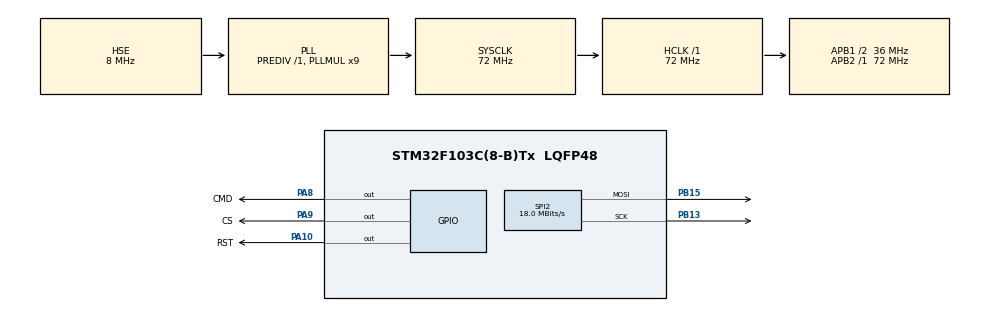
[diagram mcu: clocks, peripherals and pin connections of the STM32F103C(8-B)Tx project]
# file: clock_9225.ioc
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Mcu.Family=STM32F1
Mcu.Name=STM32F103C(8-B)Tx
Mcu.Package=LQFP48
NVIC.PriorityGroup=NVIC_PRIORITYGROUP_4
PA10.GPIO_Label=RST
PA10.Signal=GPIO_Output
PA13.Mode=Serial_Wire
PA13.Signal=SYS_JTMS-SWDIO
PA14.Mode=Serial_Wire
PA14.Signal=SYS_JTCK-SWCLK
PA8.GPIO_Label=CMD
PA8.Signal=GPIO_Output
PA9.GPIO_Label=CS
PA9.Signal=GPIO_Output
PB13.Mode=TX_Only_Simplex_Unidirect_Master
PB13.Signal=SPI2_SCK
PB15.Mode=TX_Only_Simplex_Unidirect_Master
PB15.Signal=SPI2_MOSI
PD0-OSC_IN.Mode=HSE-External-Oscillator
PD0-OSC_IN.Signal=RCC_OSC_IN
PD1-OSC_OUT.Mode=HSE-External-Oscillator
PD1-OSC_OUT.Signal=RCC_OSC_OUT
ProjectManager.HeapSize=0x200
ProjectManager.StackSize=0x400
ProjectManager.TargetToolchain=STM32CubeIDE
RCC.AHBFreq_Value=72000000
RCC.APB1CLKDivider=RCC_HCLK_DIV2
RCC.APB1Freq_Value=36000000
RCC.APB1TimFreq_Value=72000000
RCC.APB2Freq_Value=72000000
RCC.APB2TimFreq_Value=72000000
RCC.HCLKFreq_Value=72000000
RCC.PLLMUL=RCC_PLL_MUL9
RCC.PLLSourceVirtual=RCC_PLLSOURCE_HSE
RCC.SYSCLKFreq_VALUE=72000000
RCC.SYSCLKSource=RCC_SYSCLKSOURCE_PLLCLK
RCC.USBFreq_Value=72000000
SPI2.CalculateBaudRate=18.0 MBits/s
SPI2.Direction=SPI_DIRECTION_2LINES
SPI2.Mode=SPI_MODE_MASTER
SPI2.VirtualType=VM_MASTER
board=custom

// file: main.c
/* USER CODE BEGIN Header */
/**
  ******************************************************************************
  * @file           : main.c
  * @brief          : Main program body
  ******************************************************************************
  * @attention
  *
  * Copyright (c) 2023 STMicroelectronics.
  * All rights reserved.
  *
  * This software is licensed under terms that can be found in the LICENSE file
  * in the root directory of this software component.
  * If no LICENSE file comes with this software, it is provided AS-IS.
  *
  ******************************************************************************
  */
/* USER CODE END Header */
#include "main.h"

/* USER CODE BEGIN Includes */
#include "ILI9225.h"
/* USER CODE END Includes */

SPI_HandleTypeDef hspi2;

void SystemClock_Config(void);
static void MX_GPIO_Init(void);
static void MX_SPI2_Init(void);

int main(void)
{

  /* MCU Configuration--------------------------------------------------------*/

  /* Reset of all peripherals, Initializes the Flash interface and the Systick. */
  HAL_Init();

  /* Configure the system clock */
  SystemClock_Config();

  /* Initialize all configured peripherals */
  MX_GPIO_Init();
  MX_SPI2_Init();
  /* USER CODE BEGIN 2 */
  lcd_init();
  fill_rectangle(0, 0, WIDTH, HEIGHT, COLOR_WHITE);

  /* USER CODE END 2 */

  /* Infinite loop */
  while (1)
  {

    /* USER CODE BEGIN 3 */
	  draw_string(50, 50, COLOR_BLUE, 5, "PIF");
	  HAL_Delay(2500);
	  fill_rectangle(0, 0, WIDTH, HEIGHT, COLOR_WHITE);
	  HAL_Delay(1000);
	  draw_string(50, 50, COLOR_BLUE, 5, "QMD");
	  HAL_Delay(2500);
	  fill_rectangle(0, 0, WIDTH, HEIGHT, COLOR_WHITE);
	  HAL_Delay(1000);
	  draw_string(40, 50, COLOR_BLUE, 5, ":D");
	  HAL_Delay(2500);
	  fill_rectangle(0, 0, WIDTH, HEIGHT, COLOR_WHITE);
	  HAL_Delay(1000);
  }
  /* USER CODE END 3 */
}

void SystemClock_Config(void)
{
  RCC_OscInitTypeDef RCC_OscInitStruct = {0};
  RCC_ClkInitTypeDef RCC_ClkInitStruct = {0};

  /** Initializes the RCC Oscillators according to the specified parameters
  * in the RCC_OscInitTypeDef structure.
  */
  RCC_OscInitStruct.OscillatorType = RCC_OSCILLATORTYPE_HSE;
  RCC_OscInitStruct.HSEState = RCC_HSE_ON;
  RCC_OscInitStruct.HSEPredivValue = RCC_HSE_PREDIV_DIV1;
  RCC_OscInitStruct.HSIState = RCC_HSI_ON;
  RCC_OscInitStruct.PLL.PLLState = RCC_PLL_ON;
  RCC_OscInitStruct.PLL.PLLSource = RCC_PLLSOURCE_HSE;
  RCC_OscInitStruct.PLL.PLLMUL = RCC_PLL_MUL9;
  if (HAL_RCC_OscConfig(&RCC_OscInitStruct) != HAL_OK)
  {
    Error_Handler();
  }

  /** Initializes the CPU, AHB and APB buses clocks
  */
  RCC_ClkInitStruct.ClockType = RCC_CLOCKTYPE_HCLK|RCC_CLOCKTYPE_SYSCLK
                              |RCC_CLOCKTYPE_PCLK1|RCC_CLOCKTYPE_PCLK2;
  RCC_ClkInitStruct.SYSCLKSource = RCC_SYSCLKSOURCE_PLLCLK;
  RCC_ClkInitStruct.AHBCLKDivider = RCC_SYSCLK_DIV1;
  RCC_ClkInitStruct.APB1CLKDivider = RCC_HCLK_DIV2;
  RCC_ClkInitStruct.APB2CLKDivider = RCC_HCLK_DIV1;

  if (HAL_RCC_ClockConfig(&RCC_ClkInitStruct, FLASH_LATENCY_2) != HAL_OK)
  {
    Error_Handler();
  }
}

static void MX_SPI2_Init(void)
{

  /* SPI2 parameter configuration*/
  hspi2.Instance = SPI2;
  hspi2.Init.Mode = SPI_MODE_MASTER;
  hspi2.Init.Direction = SPI_DIRECTION_2LINES;
  hspi2.Init.DataSize = SPI_DATASIZE_8BIT;
  hspi2.Init.CLKPolarity = SPI_POLARITY_LOW;
  hspi2.Init.CLKPhase = SPI_PHASE_1EDGE;
  hspi2.Init.NSS = SPI_NSS_SOFT;
  hspi2.Init.BaudRatePrescaler = SPI_BAUDRATEPRESCALER_2;
  hspi2.Init.FirstBit = SPI_FIRSTBIT_MSB;
  hspi2.Init.TIMode = SPI_TIMODE_DISABLE;
  hspi2.Init.CRCCalculation = SPI_CRCCALCULATION_DISABLE;
  hspi2.Init.CRCPolynomial = 10;
  if (HAL_SPI_Init(&hspi2) != HAL_OK)
  {
    Error_Handler();
  }

}

static void MX_GPIO_Init(void)
{
  GPIO_InitTypeDef GPIO_InitStruct = {0};

  /* GPIO Ports Clock Enable */
  __HAL_RCC_GPIOD_CLK_ENABLE();
  __HAL_RCC_GPIOB_CLK_ENABLE();
  __HAL_RCC_GPIOA_CLK_ENABLE();

  /*Configure GPIO pin Output Level */
  HAL_GPIO_WritePin(GPIOA, CMD_Pin|CS_Pin|RST_Pin, GPIO_PIN_RESET);

  /*Configure GPIO pins : CMD_Pin CS_Pin RST_Pin */
  GPIO_InitStruct.Pin = CMD_Pin|CS_Pin|RST_Pin;
  GPIO_InitStruct.Mode = GPIO_MODE_OUTPUT_PP;
  GPIO_InitStruct.Pull = GPIO_NOPULL;
  GPIO_InitStruct.Speed = GPIO_SPEED_FREQ_LOW;
  HAL_GPIO_Init(GPIOA, &GPIO_InitStruct);

}

void Error_Handler(void)
{
  __disable_irq();
  while (1)
  {
  }
}
